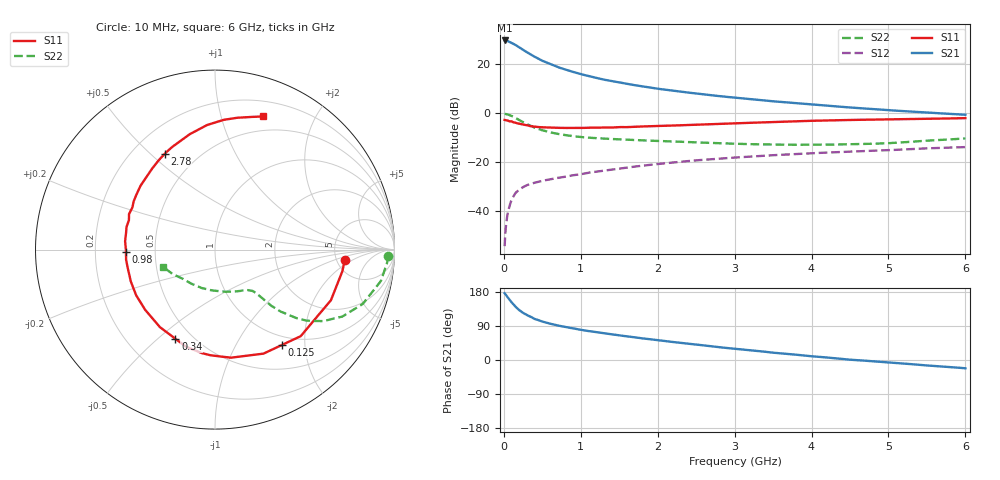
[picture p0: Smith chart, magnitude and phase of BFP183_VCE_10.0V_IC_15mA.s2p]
! Infineon Technologies  Discrete & RF Semiconductors
! BFP183
! VCE = 10.0V,  IC =  15 mA
! Common Emitter S-Parameters:  Jan 2016
# GHz  S  MA  R  50
!  f  S11  S21  S12  S22
! GHz  MAG  ANG  MAG  ANG  MAG  ANG  MAG  ANG
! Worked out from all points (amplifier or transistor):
!   210 points, 10 MHz to 6 GHz, reference 50 ohm
!   highest |S21| = 29.7 dB at 10 MHz (marker M1)
!   |S21| within 3 dB of that: start of sweep to 209.8 MHz
!   unconditionally stable (mu >= 1): 1.131 GHz to 5.933 GHz
!   at 185 MHz: K = 0.31, MSG = 29.5 dB, |S12| = -31.7 dB
!   at 1.52 GHz: K = 1.09, MAG = 15.7 dB, |S12| = -22.6 dB
!   at 6 GHz: K = 0.99, MSG = 6.6 dB, |S12| = -13.9 dB
!   S11 on the Smith chart (normalised r, x): 10 MHz: 5.94, -1.39; 125 MHz: 0.86, -1.57; 340 MHz: 0.41, -0.57; 980 MHz: 0.34, -0.01; 2.78 GHz: 0.33, +0.55; 6 GHz: 0.35, +1.36
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0.01  0.7251 -4.4  30.58 176.3  0.0019 76.1  0.9648 -2.0
0.05  0.7048 -23.6  29.81 165.2  0.0089 76.5  0.9408 -10.7
0.1  0.6786 -45.3  27.38 152.3  0.0167 67.0  0.8772 -20.2
0.125  0.6493 -54.9  25.98 146.8  0.0199 63.2  0.8373 -23.8
0.15  0.6394 -65.0  24.83 140.8  0.0231 60.4  0.801 -27.8
0.2  0.6086 -81.7  22.19 131.6  0.0273 55.3  0.7218 -33.5
0.26  0.5813 -97.3  19.12 123.1  0.0313 51.3  0.6414 -38.0
0.3  0.5644 -106.7  17.55 118.4  0.0336 49.8  0.5949 -40.0
0.34  0.5437 -113.9  16.16 114.9  0.0352 48.4  0.5586 -41.2
0.4  0.5299 -125.4  14.21 108.4  0.0377 46.5  0.5046 -43.3
0.5  0.5137 -139.3  11.75 101.4  0.0411 44.9  0.4453 -44.9
0.6  0.5077 -149.9  10.09 95.8  0.0443 44.9  0.4044 -45.5
0.8  0.497 -166.9  7.753 86.9  0.0499 45.3  0.3541 -46.2
0.98  0.4962 -178.5  6.396 80.5  0.0557 46.3  0.3266 -46.9
1.02  0.4972 179.2  6.152 79.1  0.057 46.4  0.322 -47.1
1.5  0.5184 157.5  4.223 65.0  0.0736 46.7  0.29 -51.1
2.02  0.5474 138.7  3.121 51.9  0.0915 44.9  0.2691 -58.9
2.78  0.603 117.8  2.244 34.2  0.1166 39.7  0.2435 -74.9
3.1  0.626 110.4  2 27.8  0.1261 37.3  0.2338 -82.9
4.1  0.7004 92.1  1.461 8.3  0.1535 29.3  0.226 -112.3
5.1  0.7482 79.4  1.121 -7.9  0.1774 22.4  0.2476 -140.6
6  0.7886 70.2  0.924 -21.8  0.2017 14.7  0.3032 -161.2
